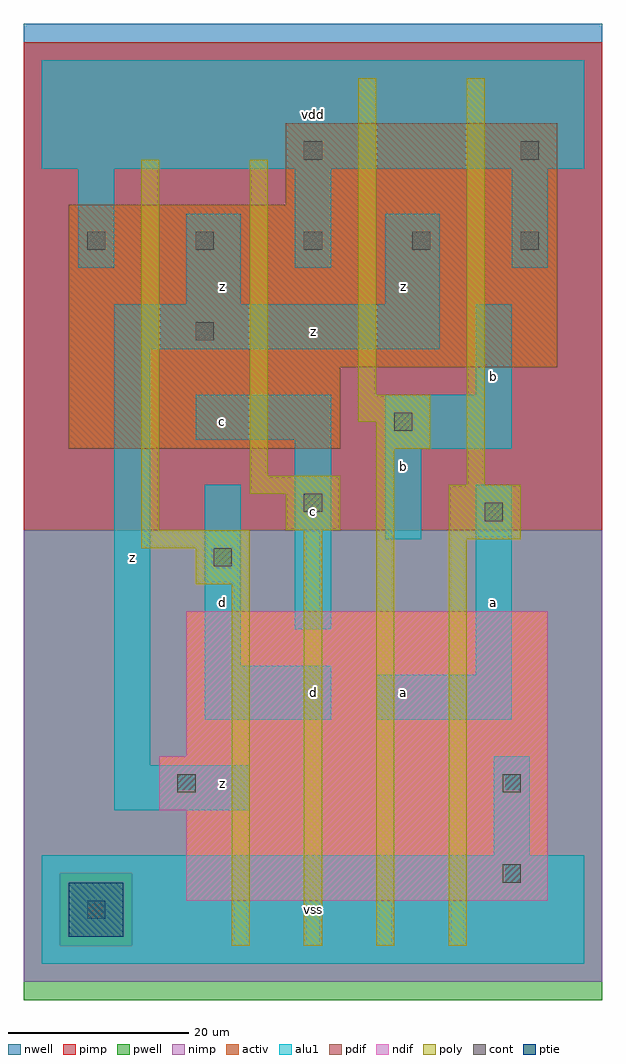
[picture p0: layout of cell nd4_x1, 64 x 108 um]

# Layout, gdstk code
import gdstk
lib = gdstk.Library(unit=1e-6, precision=1e-09)
def R(c, l, rs):  # rectangles x0, y0, x1, y1
    for r in rs: c.add(gdstk.rectangle(r[:2], r[2:], *l))
def A(c, l, x, y, w, h, nx, ny, dx, dy):  # array of equal rectangles
    R(c, l, [(x+i*dx, y+j*dy, x+i*dx+w, y+j*dy+h) for i in range(nx) for j in range(ny)])
ndif = (3, 0)
pdif = (4, 0)
ptie = (6, 0)
cont = (25, 0)
pwell = (41, 0)
nwell = (42, 0)
activ = (43, 0)
pimp = (44, 0)
nimp = (45, 0)
poly = (46, 0)
alu1 = (49, 0)

nd4_x1 = lib.new_cell('nd4_x1')
R(nd4_x1, ndif, [(16,7,56,17), (13,17,56,23), (16,23,56,39)])
R(nd4_x1, pdif, [(3,57,33,66), (3,66,57,84), (27,84,57,93)])
R(nd4_x1, ptie, [(3,3,9,9)])
A(nd4_x1, cont, 5, 79, 2, 2, 5, 1, 12, 0)
R(nd4_x1, cont, [(5,5,7,7), (51,9,53,11), (15,19,17,21), (51,19,53,21), (19,44,21,46), (49,49,51,51), (29,50,31,52), (39,59,41,61), (17,69,19,71), (29,89,31,91), (53,89,55,91)])
R(nd4_x1, pwell, [(-2,-4,62,48)])
R(nd4_x1, nwell, [(-2,48,62,104)])
R(nd4_x1, activ, [(3,3,9,9), (16,7,56,17), (13,17,56,23), (16,23,56,39), (3,57,33,66), (3,66,57,84), (27,84,57,93)])
R(nd4_x1, pimp, [(2,2,10,10), (-2,48,62,102)])
R(nd4_x1, nimp, [(-2,-2,62,2), (-2,2,2,10), (10,2,62,10), (-2,10,62,48)])
R(nd4_x1, poly, [(21,2,23,42), (29,2,31,48), (37,2,39,57), (45,2,47,47), (17,42,23,46), (11,46,23,48), (45,47,53,53), (11,48,13,89), (27,48,33,52), (23,52,33,54), (47,53,49,98), (23,54,25,89), (37,57,43,60), (35,60,43,63), (35,63,37,98)])
A(nd4_x1, alu1, 4, 77, 4, 11, 3, 1, 24, 0)
R(nd4_x1, alu1, [(0,0,60,12), (50,12,54,23), (8,17,23,22), (8,22,12,68), (18,27,32,33), (37,27,52,32), (48,32,52,53), (18,33,22,53), (28,37,32,58), (38,47,42,57), (38,57,52,63), (17,58,32,63), (48,63,52,73), (8,68,44,73), (16,73,22,83), (38,73,44,83), (0,88,60,100)])
nd4_x1.add(gdstk.Label('z', (20,20), layer=49, texttype=0))
nd4_x1.add(gdstk.Label('d', (20,40), layer=49, texttype=0))
nd4_x1.add(gdstk.Label('z', (10,45), layer=49, texttype=0))
nd4_x1.add(gdstk.Label('c', (20,60), layer=49, texttype=0))
nd4_x1.add(gdstk.Label('z', (20,75), layer=49, texttype=0))
nd4_x1.add(gdstk.Label('vss', (30,6), layer=49, texttype=0))
nd4_x1.add(gdstk.Label('d', (30,30), layer=49, texttype=0))
nd4_x1.add(gdstk.Label('c', (30,50), layer=49, texttype=0))
nd4_x1.add(gdstk.Label('z', (30,70), layer=49, texttype=0))
nd4_x1.add(gdstk.Label('vdd', (30,94), layer=49, texttype=0))
nd4_x1.add(gdstk.Label('a', (40,30), layer=49, texttype=0))
nd4_x1.add(gdstk.Label('b', (40,55), layer=49, texttype=0))
nd4_x1.add(gdstk.Label('z', (40,75), layer=49, texttype=0))
nd4_x1.add(gdstk.Label('a', (50,40), layer=49, texttype=0))
nd4_x1.add(gdstk.Label('b', (50,65), layer=49, texttype=0))

lib.write_gds('nd4_x1.gds')
